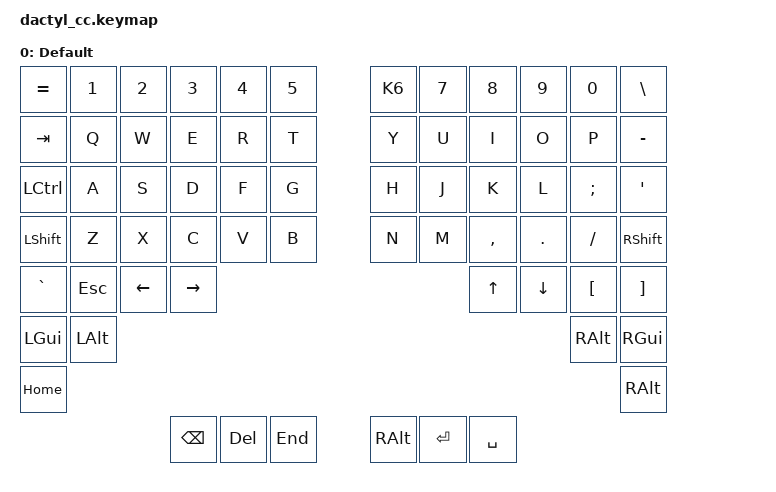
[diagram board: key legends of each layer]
#include <behaviors.dtsi>
#include <dt-bindings/zmk/keys.h>
#include <dt-bindings/zmk/bt.h>
#include <dt-bindings/zmk/outputs.h>

#define DEFAULT 0
#define LOWER   1
#define RAISE   2
#define ADJUST  3

#define HYPER(key) LS(LC(LA(LG(key))))
#define MEH(key)   LS(LC(LA(key)))

&sl {
    release-after-ms = <5000>;
};


&kscan0 {
    debounce-press-ms = <30>;
    debounce-release-ms = <30>;
};

/ {
    keymap {
        compatible = "zmk,keymap";

        default_layer {
            display-name = "Default";
            bindings = <
    &kp EQUAL &kp N1    &kp N2   &kp N3    &kp N4    &kp N5                          &kp K6 &kp N7    &kp N8    &kp N9    &kp N0   &kp BSLH
    &kp TAB        &kp Q     &kp W    &kp E     &kp R     &kp T                      &kp Y &kp U     &kp I     &kp O     &kp P    &kp MINUS
    &kp LCTRL   &kp A     &kp S    &kp D     &kp F     &kp G                         &kp H  &kp J     &kp K     &kp L     &kp SEMI &kp SQT
    &kp LSHFT      &kp Z     &kp X    &kp C     &kp V     &kp B                      &kp N &kp M   &kp COMMA   &kp DOT &kp FSLH    &kp RSHFT
                   &kp GRAVE &kp ESC &kp LEFT  &kp RIGHT                                    &kp UP &kp DOWN &kp LBKT &kp RBKT
                                                          &kp LGUI &kp LALT    &kp RALT &kp RGUI
                                                                    &kp HOME    &kp RALT
                                                &kp BSPC  &kp DEL   &kp END     &kp RALT &kp RET    &kp SPACE 
            >;
        };

    };
};
